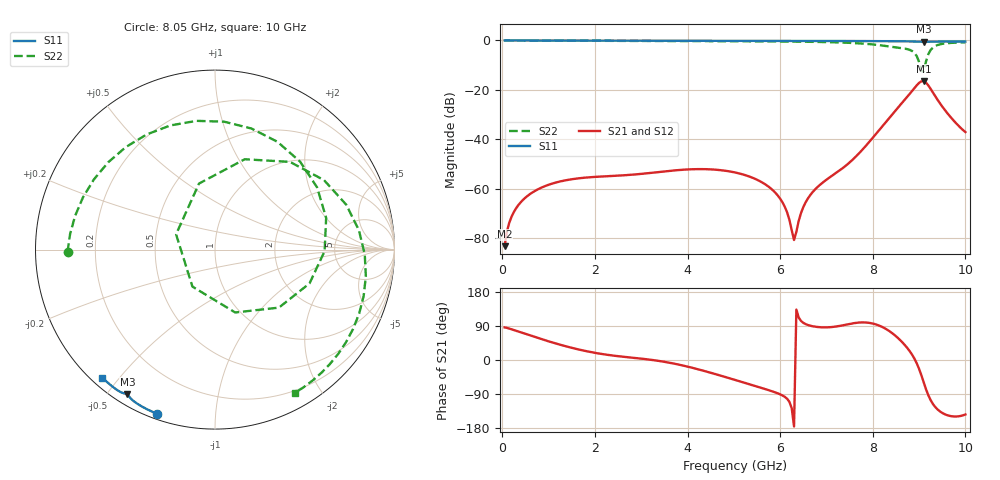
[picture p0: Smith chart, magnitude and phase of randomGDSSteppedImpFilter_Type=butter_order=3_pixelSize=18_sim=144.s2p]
! freq	dB(S11)	phase(S11)	dB(S12)	phase(S12)
!  dB(S21)	phase(S21)	dB(S22)	phase(S22)
!S-par simulation data
#  GHz  S  DB  R 50
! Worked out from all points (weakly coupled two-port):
!   200 points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, 50 MHz to 10 GHz, reference 50 ohm
!   highest |S21| = -16.46 dB at 9.1 GHz (marker M1); lowest = -83.1 dB at 50 MHz (marker M2)
!   lowest |S11| = -0.5 dB at 9.1 GHz (marker M3), VSWR 32.63, Z = 2.02 - j28.1 ohm
!   |S11| at or under -10 dB: nowhere
!   |S22| runs from -12.7 to 0.0 dB; largest |S21 - S12| = 0
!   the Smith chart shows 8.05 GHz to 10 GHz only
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0.05  -0.00 -0.8  -83.15 86.0  -83.15 86.0  -0.01 -3.4
0.25  -0.01 -3.8  -69.33 79.0  -69.33 79.0  -0.04 -17.5
0.55  -0.01 -8.4  -62.75 66.8  -62.75 66.8  -0.06 -38.4
1.15  -0.02 -17.4  -57.46 43.8  -57.46 43.8  -0.10 -79.6
1.75  -0.03 -26.3  -55.52 25.0  -55.52 25.0  -0.14 -119.8
2.6  -0.05 -38.7  -54.53 8.7  -54.53 8.7  -0.19 -176.0
3.4  -0.07 -50.0  -53.14 -2.8  -53.14 -2.8  -0.23 130.4
4.15  -0.08 -60.4  -52.03 -22.0  -52.03 -22.0  -0.27 80.0
5.05  -0.11 -72.4  -53.46 -53.4  -53.46 -53.4  -0.32 22.3
5.9  -0.14 -83.3  -61.63 -85.7  -61.63 -85.7  -0.40 -27.3
6.3  -0.16 -88.3  -80.66 -175.6  -80.66 -175.6  -0.46 -49.4
6.7  -0.18 -93.3  -61.33 89.1  -61.33 89.1  -0.56 -71.7
7.55  -0.23 -103.6  -48.46 96.3  -48.46 96.3  -1.01 -127.2
8.05  -0.27 -109.5  -38.21 94.5  -38.21 94.5  -1.70 -179.1
8.35  -0.30 -113.1  -31.42 76.8  -31.42 76.8  -2.42 131.0
8.6  -0.33 -116.1  -25.92 51.4  -25.92 51.4  -3.04 73.2
8.8  -0.38 -118.5  -21.53 22.9  -21.53 22.9  -3.82 15.9
9  -0.49 -120.7  -17.15 -23.4  -17.15 -23.4  -8.69 -72.2
9.1  -0.53 -121.2  -16.46 -59.1  -16.46 -59.1  -12.65 158.5
9.2  -0.49 -121.9  -18.19 -93.2  -18.19 -93.2  -5.52 71.8
9.4  -0.42 -124.3  -24.02 -130.5  -24.02 -130.5  -1.84 7.7
10  -0.45 -131.4  -37.03 -143.8  -37.03 -143.8  -0.78 -60.8
